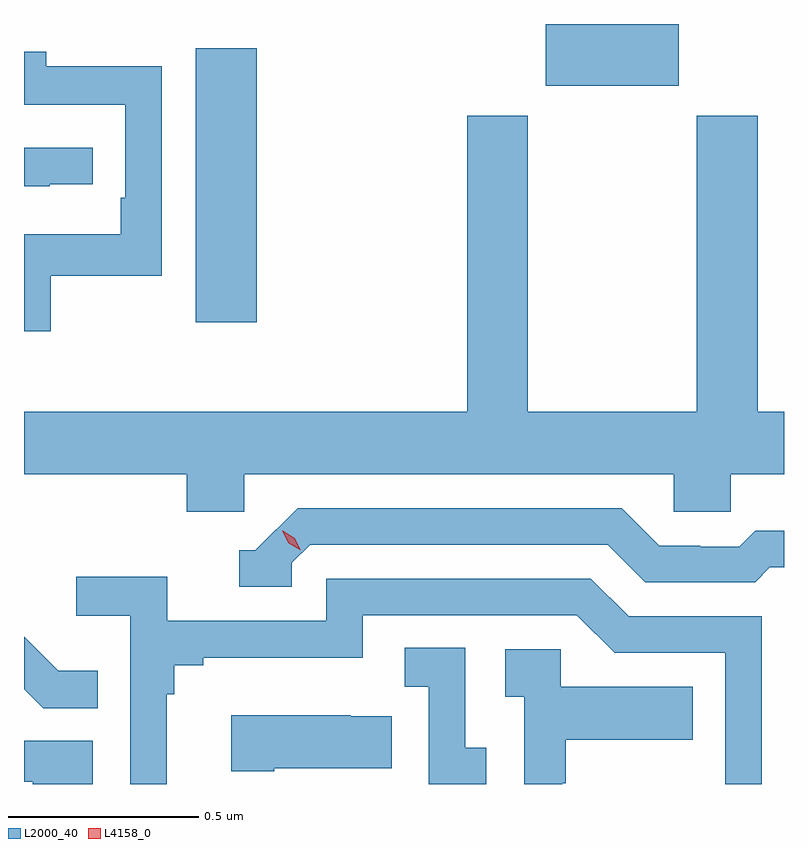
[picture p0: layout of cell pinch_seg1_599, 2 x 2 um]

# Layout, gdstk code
import gdstk
lib = gdstk.Library(unit=1e-6, precision=1e-09)
def R(c, l, rs):  # rectangles x0, y0, x1, y1
    for r in rs: c.add(gdstk.rectangle(r[:2], r[2:], *l))
def P(c, l, *ps):  # polygons
    for p in ps: c.add(gdstk.Polygon(p, *l))
L2000_40 = (2000, 40)
L4158_0 = (4158, 0)

pinch_seg1_599 = lib.new_cell('pinch_seg1_599')
R(pinch_seg1_599, L2000_40, [(1019.363,512.172,1019.524,512.893), (1020.284,512.795,1020.634,512.957)])
P(pinch_seg1_599, L2000_40, [(1018.981,512.295),(1019.274,512.295),(1019.274,512.846),(1018.969,512.846),(1018.969,512.884),(1018.911,512.884),(1018.911,512.745),(1019.178,512.745),(1019.178,512.5),(1019.165,512.5),(1019.165,512.404),(1018.911,512.404),(1018.911,512.148),(1018.981,512.148)],
  [(1020.621,511.674),(1020.771,511.674),(1020.771,511.772),(1020.911,511.772),(1020.911,511.936),(1020.842,511.936),(1020.842,512.716),(1020.682,512.716),(1020.682,511.936),(1020.237,511.936),(1020.237,512.716),(1020.077,512.716),(1020.077,511.936),(1018.911,511.936),(1018.911,511.772),(1019.339,511.772),(1019.339,511.674),(1019.49,511.674),(1019.49,511.772),(1020.621,511.772)],
  [(1018.979,512.535),(1019.092,512.535),(1019.092,512.631),(1018.911,512.631),(1018.911,512.53),(1018.979,512.53)],
  [(1019.616,511.539),(1019.664,511.587),(1020.447,511.587),(1020.546,511.488),(1020.835,511.488),(1020.874,511.527),(1020.911,511.527),(1020.911,511.624),(1020.835,511.624),(1020.793,511.581),(1020.69,511.581),(1020.69,511.584),(1020.583,511.584),(1020.484,511.683),(1019.631,511.683),(1019.52,511.572),(1019.477,511.572),(1019.477,511.476),(1019.616,511.476)],
  [(1019.287,511.193),(1019.306,511.193),(1019.306,511.27),(1019.383,511.27),(1019.383,511.289),(1019.802,511.289),(1019.802,511.401),(1020.366,511.401),(1020.465,511.302),(1020.756,511.302),(1020.756,510.957),(1020.852,510.957),(1020.852,511.398),(1020.502,511.398),(1020.403,511.497),(1019.706,511.497),(1019.706,511.386),(1019.288,511.386),(1019.288,511.502),(1019.049,511.502),(1019.049,511.4),(1019.19,511.4),(1019.19,510.957),(1019.287,510.957)],
  [(1019.105,511.255),(1019.001,511.255),(1018.911,511.345),(1018.911,511.206),(1018.961,511.156),(1019.105,511.156)],
  [(1020.127,511.053),(1020.072,511.053),(1020.072,511.316),(1019.913,511.316),(1019.913,511.213),(1019.976,511.213),(1019.976,510.957),(1020.127,510.957)],
  [(1020.327,510.959),(1020.337,510.959),(1020.337,511.073),(1020.671,511.073),(1020.671,511.213),(1020.324,511.213),(1020.324,511.311),(1020.177,511.311),(1020.177,511.187),(1020.228,511.187),(1020.228,510.957),(1020.327,510.957)],
  [(1019.569,510.998),(1019.879,510.998),(1019.879,511.135),(1019.771,511.135),(1019.771,511.138),(1019.457,511.138),(1019.457,510.991),(1019.569,510.991)],
  [(1019.092,511.071),(1018.911,511.071),(1018.911,510.963),(1018.934,510.963),(1018.934,510.957),(1019.092,510.957)])
P(pinch_seg1_599, L4158_0, [(1019.639,511.572),(1019.608,511.591),(1019.591,511.624),(1019.591,511.624),(1019.592,511.624),(1019.623,511.604),(1019.639,511.572),(1019.639,511.572)])

lib.write_gds('pinch_seg1_599.gds')
